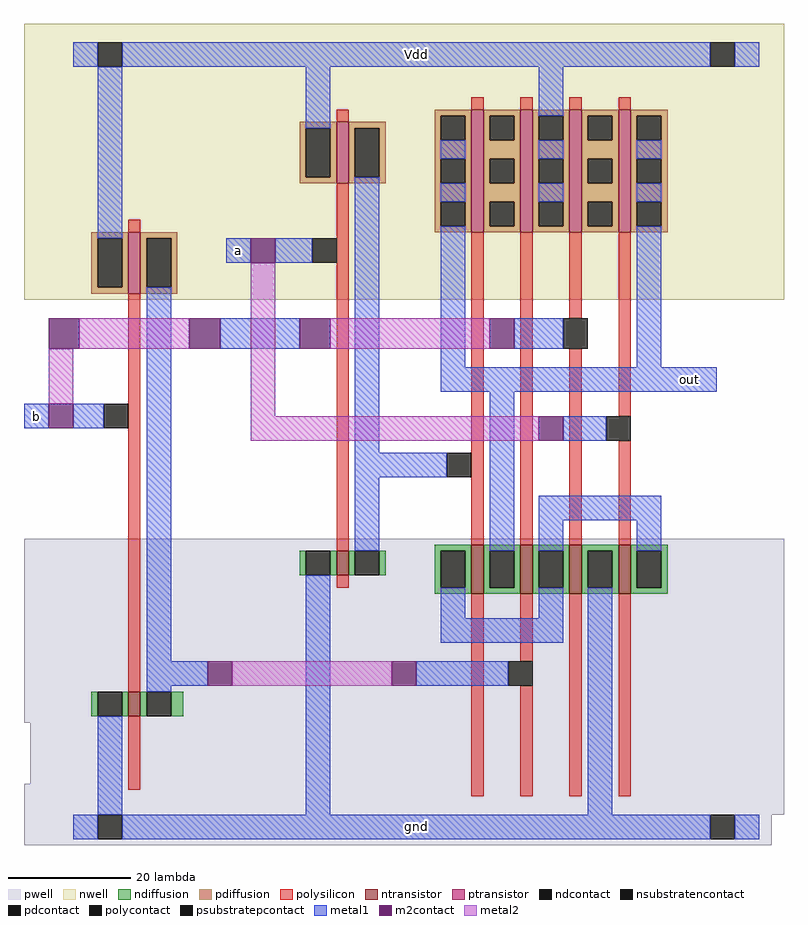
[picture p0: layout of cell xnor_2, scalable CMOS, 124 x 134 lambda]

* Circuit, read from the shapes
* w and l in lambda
.subckt xnor_2 Vdd a b gnd out
M1 n1 b gnd gnd nfet w=4 l=2
M2 n2 a gnd gnd nfet w=4 l=2
M3 out n2 n3 gnd nfet w=8 l=2
M4 n3 n1 out gnd nfet w=8 l=2
M5 gnd b n3 gnd nfet w=8 l=2
M6 n3 a gnd gnd nfet w=8 l=2
M7 n1 b Vdd Vdd pfet w=10 l=2
M8 n2 a Vdd Vdd pfet w=10 l=2
M9 n4 n2 out Vdd pfet w=20 l=2
M10 Vdd n1 n4 Vdd pfet w=20 l=2
M11 n5 b Vdd Vdd pfet w=20 l=2
M12 out a n5 Vdd pfet w=20 l=2
.ends

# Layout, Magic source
magic
tech scmos
<< pwell >>
rect -75 -49 49 -19
rect -74 -59 49 -49
rect -75 -64 49 -59
rect -75 -69 47 -64
<< nwell >>
rect -75 20 49 65
<< polysilicon >>
rect -2 51 0 53
rect 6 51 8 53
rect 14 51 16 53
rect 22 51 24 53
rect -24 49 -22 51
rect -58 31 -56 33
rect -58 -44 -56 21
rect -24 -21 -22 39
rect -2 -20 0 31
rect 6 -20 8 31
rect 14 17 16 31
rect 14 -20 16 12
rect 22 1 24 31
rect 22 -20 24 -3
rect -24 -27 -22 -25
rect -58 -60 -56 -48
rect -2 -61 0 -28
rect 6 -39 8 -28
rect 6 -61 8 -43
rect 14 -61 16 -28
rect 22 -61 24 -28
<< ndiffusion >>
rect -8 -21 -2 -20
rect -30 -25 -29 -21
rect -25 -25 -24 -21
rect -22 -25 -21 -21
rect -17 -25 -16 -21
rect -8 -27 -7 -21
rect -3 -27 -2 -21
rect -8 -28 -2 -27
rect 0 -21 6 -20
rect 0 -27 1 -21
rect 5 -27 6 -21
rect 0 -28 6 -27
rect 8 -21 14 -20
rect 8 -27 9 -21
rect 13 -27 14 -21
rect 8 -28 14 -27
rect 16 -21 22 -20
rect 16 -27 17 -21
rect 21 -27 22 -21
rect 16 -28 22 -27
rect 24 -21 30 -20
rect 24 -27 25 -21
rect 29 -27 30 -21
rect 24 -28 30 -27
rect -64 -48 -63 -44
rect -59 -48 -58 -44
rect -56 -48 -55 -44
rect -51 -48 -49 -44
<< pdiffusion >>
rect -8 50 -2 51
rect -30 48 -24 49
rect -30 40 -29 48
rect -25 40 -24 48
rect -30 39 -24 40
rect -22 48 -16 49
rect -22 40 -21 48
rect -17 40 -16 48
rect -22 39 -16 40
rect -8 46 -7 50
rect -3 46 -2 50
rect -8 43 -2 46
rect -8 39 -7 43
rect -3 39 -2 43
rect -64 30 -58 31
rect -64 22 -63 30
rect -59 22 -58 30
rect -64 21 -58 22
rect -56 30 -50 31
rect -56 22 -55 30
rect -51 22 -50 30
rect -56 21 -50 22
rect -8 36 -2 39
rect -8 32 -7 36
rect -3 32 -2 36
rect -8 31 -2 32
rect 0 50 6 51
rect 0 46 1 50
rect 5 46 6 50
rect 0 43 6 46
rect 0 39 1 43
rect 5 39 6 43
rect 0 36 6 39
rect 0 32 1 36
rect 5 32 6 36
rect 0 31 6 32
rect 8 50 14 51
rect 8 46 9 50
rect 13 46 14 50
rect 8 43 14 46
rect 8 39 9 43
rect 13 39 14 43
rect 8 36 14 39
rect 8 32 9 36
rect 13 32 14 36
rect 8 31 14 32
rect 16 50 22 51
rect 16 46 17 50
rect 21 46 22 50
rect 16 43 22 46
rect 16 39 17 43
rect 21 39 22 43
rect 16 36 22 39
rect 16 32 17 36
rect 21 32 22 36
rect 16 31 22 32
rect 24 50 30 51
rect 24 46 25 50
rect 29 46 30 50
rect 24 43 30 46
rect 24 39 25 43
rect 29 39 30 43
rect 24 36 30 39
rect 24 32 25 36
rect 29 32 30 36
rect 24 31 30 32
<< metal1 >>
rect -67 58 -63 62
rect -59 58 37 62
rect 41 58 45 62
rect -63 30 -59 58
rect -29 48 -25 58
rect 9 50 13 58
rect -42 26 -38 30
rect -34 26 -28 30
rect -75 -1 -71 3
rect -67 -1 -62 3
rect -55 -39 -51 22
rect -43 12 -30 17
rect -21 -5 -17 40
rect -7 43 -3 46
rect 9 43 13 46
rect 25 43 29 46
rect -7 36 -3 39
rect 9 36 13 39
rect 25 36 29 39
rect -7 9 -3 32
rect 5 12 13 17
rect 25 9 29 32
rect -7 5 38 9
rect -21 -9 -6 -5
rect -21 -21 -17 -9
rect 1 -21 5 5
rect 13 -3 20 1
rect -55 -43 -45 -39
rect -55 -44 -51 -43
rect -63 -64 -59 -48
rect -29 -64 -25 -25
rect 9 -16 29 -12
rect 9 -21 13 -16
rect 25 -21 29 -16
rect -7 -32 -3 -27
rect 9 -32 13 -27
rect -7 -36 13 -32
rect -11 -43 4 -39
rect 17 -64 21 -27
rect -67 -68 -63 -64
rect -59 -68 37 -64
rect 41 -68 45 -64
<< metal2 >>
rect -66 12 -48 17
rect -71 3 -67 12
rect -38 1 -34 26
rect -25 12 1 17
rect -38 -3 9 1
rect -41 -43 -15 -39
<< ntransistor >>
rect -24 -25 -22 -21
rect -2 -28 0 -20
rect 6 -28 8 -20
rect 14 -28 16 -20
rect 22 -28 24 -20
rect -58 -48 -56 -44
<< ptransistor >>
rect -24 39 -22 49
rect -58 21 -56 31
rect -2 31 0 51
rect 6 31 8 51
rect 14 31 16 51
rect 22 31 24 51
<< polycontact >>
rect -28 26 -24 30
rect -62 -1 -58 3
rect -6 -9 -2 -5
rect 13 12 17 17
rect 20 -3 24 1
rect 4 -43 8 -39
<< ndcontact >>
rect -29 -25 -25 -21
rect -21 -25 -17 -21
rect -7 -27 -3 -21
rect 1 -27 5 -21
rect 9 -27 13 -21
rect 17 -27 21 -21
rect 25 -27 29 -21
rect -63 -48 -59 -44
rect -55 -48 -51 -44
<< pdcontact >>
rect -29 40 -25 48
rect -21 40 -17 48
rect -7 46 -3 50
rect -7 39 -3 43
rect -63 22 -59 30
rect -55 22 -51 30
rect -7 32 -3 36
rect 1 46 5 50
rect 1 39 5 43
rect 1 32 5 36
rect 9 46 13 50
rect 9 39 13 43
rect 9 32 13 36
rect 17 46 21 50
rect 17 39 21 43
rect 17 32 21 36
rect 25 46 29 50
rect 25 39 29 43
rect 25 32 29 36
<< m2contact >>
rect -38 26 -34 30
rect -71 12 -66 17
rect -71 -1 -67 3
rect -48 12 -43 17
rect -30 12 -25 17
rect 1 12 5 17
rect 9 -3 13 1
rect -45 -43 -41 -39
rect -15 -43 -11 -39
<< psubstratepcontact >>
rect -63 -68 -59 -64
rect 37 -68 41 -64
<< nsubstratencontact >>
rect -63 58 -59 62
rect 37 58 41 62
<< labels >>
rlabel nwell -67 58 45 62 0 Vdd
rlabel pwell -67 -68 45 -64 0 gnd
rlabel metal1 29 5 38 9 0 out
rlabel metal1 -75 -1 -71 3 0 b
rlabel metal1 -42 26 -38 30 0 a
<< end >>
